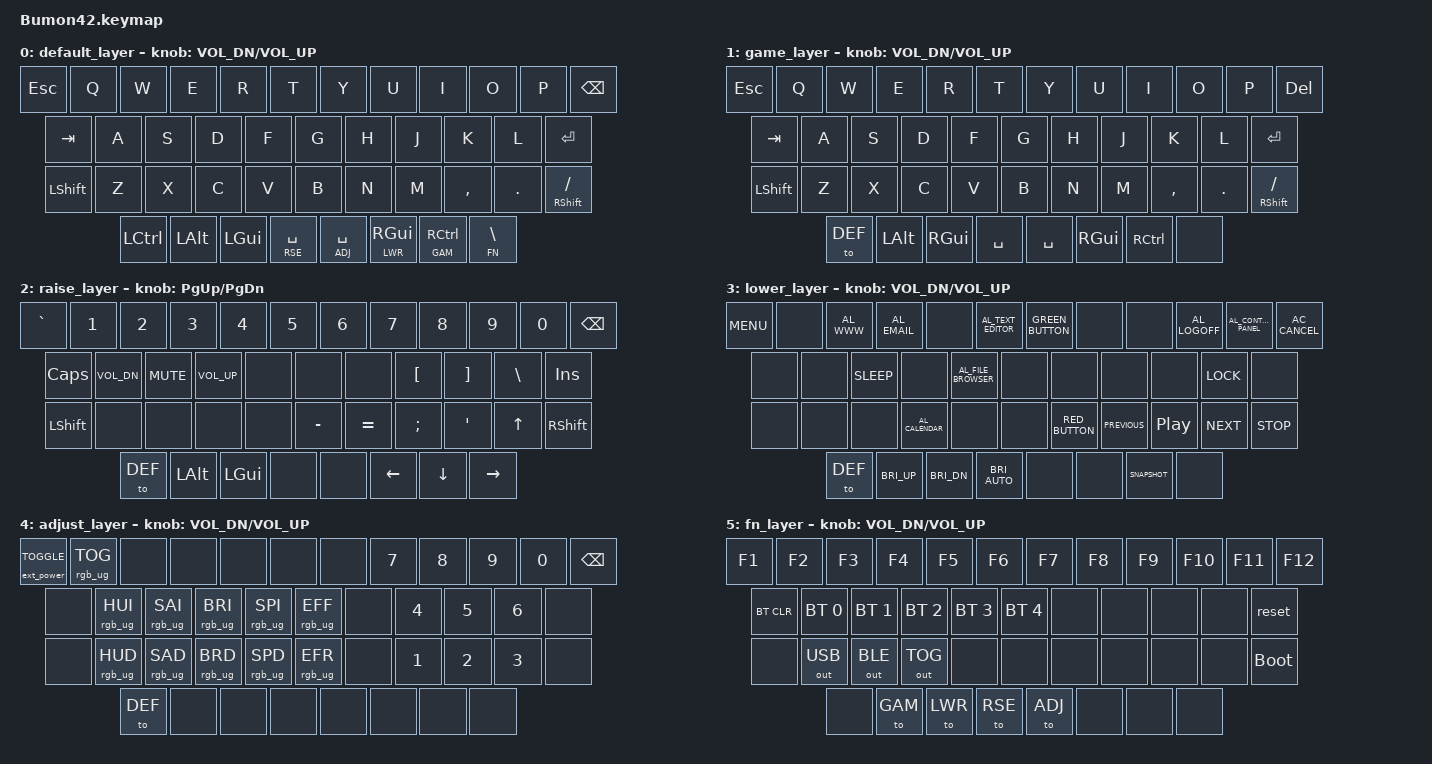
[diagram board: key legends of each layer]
#include <behaviors.dtsi>
#include <dt-bindings/zmk/keys.h>
#include <dt-bindings/zmk/bt.h>
#include <dt-bindings/zmk/outputs.h>
#include <dt-bindings/zmk/rgb.h>
#include <dt-bindings/zmk/ext_power.h>
// changed lwr and rse
#define DEF 0
#define GAM 1
#define RSE 2
#define LWR 3
#define ADJ 4
#define FN  5


/ {
    keymap {
        compatible = "zmk,keymap";

        default_layer {
          bindings = <
            &kp ESC  &kp Q   &kp W  &kp E  &kp R  &kp T    &kp Y  &kp U  &kp I  &kp O   &kp P  &kp BSPC
            &kp TAB    &kp A  &kp S  &kp D  &kp F  &kp G  &kp H  &kp J  &kp K  &kp L         &kp ENTER
            &kp LSHFT   &kp Z  &kp X  &kp C  &kp V  &kp B  &kp N  &kp M  &kp COMMA &kp DOT   &mt RSHIFT SLASH
            &kp LCTRL &kp LALT &kp LGUI &lt RSE SPACE &lt ADJ SPACE  &lt LWR RGUI  &lt GAM RCTRL  &lt FN BSLH
			       >;
          sensor-bindings = <&inc_dec_kp C_VOL_DN C_VOL_UP>;

        };
	
	game_layer {
          bindings = <
            &kp ESC  &kp Q  &kp W  &kp E  &kp R  &kp T   &kp Y  &kp U  &kp I  &kp O   &kp P  &kp DEL
            &kp TAB    &kp A  &kp S  &kp D  &kp F  &kp G  &kp H  &kp J  &kp K  &kp L         &kp ENTER
            &kp LSHFT   &kp Z  &kp X  &kp C  &kp V  &kp B  &kp N  &kp M  &kp COMMA &kp DOT   &mt RSHIFT SLASH
            &to DEF &kp LALT &kp RGUI &kp SPACE &kp SPACE &kp RGUI  &kp RCTRL  &none 
             >;
          sensor-bindings = <&inc_dec_kp C_VOL_DN C_VOL_UP>;
        };
	
	raise_layer {
          bindings = <
            &kp GRAVE  &kp N1  &kp N2  &kp N3  &kp N4  &kp N5    &kp N6  &kp N7  &kp N8  &kp N9 &kp N0  &kp BSPC
            &kp CAPS    &kp C_VOL_DN  &kp C_MUTE  &kp C_VOL_UP  &none  &none  &none  &kp LBKT  &kp RBKT  &kp BSLH  &kp INS
            &kp LSHFT          &none  &none  &none  &none &kp MINUS  &kp EQUAL  &kp SEMI  &kp SQT  &kp UP  &kp RSHFT
            &to DEF   &kp LALT   &kp LGUI  &none  &none  &kp LEFT  &kp DOWN  &kp RIGHT
			>;
          sensor-bindings = <&inc_dec_kp PG_UP PG_DN>;

        };
	
        lower_layer {
          bindings = <
            &kp C_MENU    &none   &kp C_AL_WWW   &kp C_AL_EMAIL   &none  &kp C_AL_TEXT_EDITOR   &kp C_GREEN_BUTTON  &none    &none    &kp C_AL_LOGOFF  &kp C_AL_CONTROL_PANEL   &kp C_AC_CANCEL
            &none   &none   &kp C_SLEEP   &none   &kp C_AL_FILE_BROWSER    &none   &none  &none    &none    &kp K_LOCK  &none
            &none   &none    &none  &kp C_AL_CALENDAR   &none   &none    &kp C_RED_BUTTON  &kp C_PREVIOUS   &kp C_PLAY_PAUSE  &kp C_NEXT  &kp C_STOP
            &to DEF  &kp C_BRI_UP  &kp C_BRI_DN &kp C_BRI_AUTO      &none    &none   &kp C_SNAPSHOT   &none
			       >;
          sensor-bindings = <&inc_dec_kp C_VOL_DN C_VOL_UP>;

        };
	
	adjust_layer {
          bindings = <
            &ext_power EXT_POWER_TOGGLE_CMD  &rgb_ug RGB_TOG  &none  &none  &none  &none   &none  &kp N7 &kp N8 &kp N9 &kp N0 &kp BSPC
            &none  &rgb_ug RGB_HUI  &rgb_ug RGB_SAI  &rgb_ug RGB_BRI  &rgb_ug RGB_SPI  &rgb_ug RGB_EFF   &none  &kp N4  &kp N5  &kp N6  &none
            &none  &rgb_ug RGB_HUD  &rgb_ug RGB_SAD  &rgb_ug RGB_BRD  &rgb_ug RGB_SPD  &rgb_ug RGB_EFR   &none  &kp N1  &kp N2  &kp N3  &none
            &to DEF  &none  &none  &none  &none  &none  &none   &none  
			       >;
          sensor-bindings = <&inc_dec_kp C_VOL_DN C_VOL_UP>;

        };
	
	fn_layer {
          bindings = <
            &kp F1  &kp F2  &kp F3  &kp F4  &kp F5  &kp F6   &kp F7  &kp F8  &kp F9  &kp F10  &kp F11  &kp F12
            &bt BT_CLR  &bt BT_SEL 0 &bt BT_SEL 1 &bt BT_SEL 2 &bt BT_SEL 3 &bt BT_SEL 4   &none  &none  &none  &none  &reset
            &none &out OUT_USB  &out OUT_BLE  &out OUT_TOG  &none  &none  &none   &none  &none  &none  &bootloader
            &none  &to GAM &to LWR &to RSE &to ADJ  &none &none  &none
		>;
          sensor-bindings = <&inc_dec_kp C_VOL_DN C_VOL_UP>;
        };
    };
};
